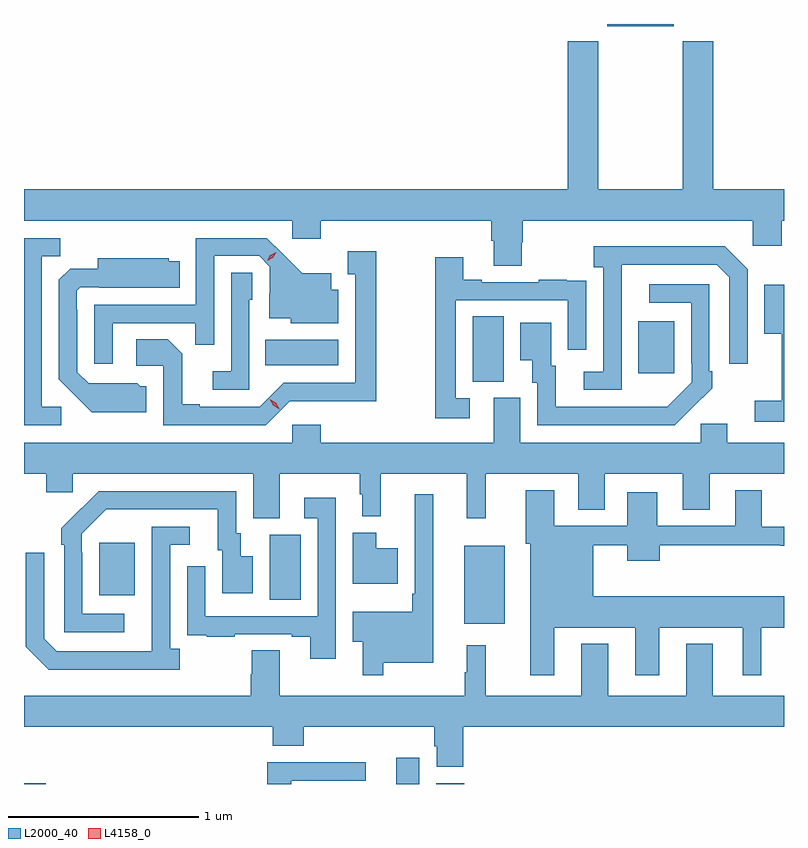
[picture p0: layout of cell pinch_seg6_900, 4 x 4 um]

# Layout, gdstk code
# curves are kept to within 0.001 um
import gdstk
lib = gdstk.Library(unit=1e-6, precision=1e-09)
def R(c, l, rs):  # rectangles x0, y0, x1, y1
    for r in rs: c.add(gdstk.rectangle(r[:2], r[2:], *l))
def P(c, l, *ps):  # polygons
    for p in ps: c.add(gdstk.Polygon(p, *l))
L2000_40 = (2000, 40)
L4158_0 = (4158, 0)

pinch_seg6_900 = lib.new_cell('pinch_seg6_900')
R(pinch_seg6_900, L2000_40, [(334.343,937.711,334.457,937.716), (336.302,937.711,336.424,937.849), (336.512,937.711,336.659,937.716), (336.659,938.555,336.874,938.965), (335.636,938.68,335.8,939.024), (334.739,938.705,334.927,938.98), (336.704,939.829,336.868,940.172), (337.577,939.873,337.765,940.147), (335.614,939.914,335.998,940.048), (337.412,941.699,337.762,941.711)])
P(pinch_seg6_900, L2000_40, [(336.963,940.563),(336.968,940.563),(336.968,940.676),(338.178,940.676),(338.178,940.545),(338.33,940.545),(338.33,940.676),(338.343,940.676),(338.343,940.84),(337.97,940.84),(337.97,941.62),(337.81,941.62),(337.81,940.84),(337.365,940.84),(337.365,941.62),(337.205,941.62),(337.205,940.84),(334.343,940.84),(334.343,940.676),(335.754,940.676),(335.754,940.581),(335.906,940.581),(335.906,940.676),(336.803,940.676),(336.803,940.57),(336.815,940.57),(336.815,940.438),(336.963,940.438)],
  [(334.54,939.696),(334.437,939.696),(334.437,940.489),(334.533,940.489),(334.533,940.584),(334.343,940.584),(334.343,939.6),(334.54,939.6)],
  [(334.809,940.137),(335.245,940.137),(335.245,940.024),(335.343,940.024),(335.343,940.491),(335.58,940.491),(335.637,940.434),(335.637,940.292),(335.633,940.292),(335.633,940.163),(335.748,940.163),(335.748,940.136),(335.998,940.136),(335.998,940.312),(335.959,940.312),(335.959,940.399),(335.807,940.399),(335.62,940.584),(335.247,940.584),(335.247,940.233),(334.713,940.233),(334.713,939.924),(334.809,939.924)],
  [(337.488,940.243),(337.489,940.443),(337.989,940.443),(338.055,940.377),(338.055,939.924),(338.151,939.924),(338.151,940.419),(338.03,940.54),(337.341,940.54),(337.341,940.43),(337.392,940.43),(337.392,939.882),(337.29,939.882),(337.29,939.786),(337.488,939.786)],
  [(335.742,939.726),(336.197,939.725),(336.197,940.516),(336.047,940.516),(336.047,940.395),(336.086,940.395),(336.086,939.822),(335.709,939.822),(335.583,939.696),(335.269,939.696),(335.269,939.709),(335.175,939.709),(335.175,939.976),(335.099,940.052),(334.935,940.052),(334.935,939.912),(335.076,939.912),(335.076,939.6),(335.616,939.6)],
  [(336.688,939.741),(336.615,939.741),(336.615,940.257),(337.206,940.257),(337.206,939.996),(337.302,939.996),(337.302,940.25),(337.301,940.25),(337.301,940.359),(337.199,940.359),(337.199,940.366),(337.051,940.366),(337.051,940.353),(336.751,940.353),(336.751,940.366),(336.655,940.366),(336.655,940.483),(336.507,940.483),(336.507,939.636),(336.688,939.636)],
  [(334.987,939.804),(334.956,939.804),(334.94,939.82),(334.683,939.819),(334.623,939.879),(334.623,940.208),(334.62,940.208),(334.62,940.308),(334.638,940.326),(334.738,940.326),(334.738,940.322),(335.162,940.322),(335.162,940.462),(335.106,940.462),(335.106,940.477),(334.73,940.477),(334.73,940.423),(334.586,940.423),(334.527,940.364),(334.527,939.842),(334.699,939.668),(334.987,939.668)],
  [(335.529,940.26),(335.544,940.26),(335.544,940.403),(335.433,940.403),(335.433,939.883),(335.337,939.883),(335.337,939.786),(335.529,939.786)],
  [(337.859,939.691),(337.86,939.69),(337.965,939.795),(337.965,939.883),(337.95,939.883),(337.95,940.341),(337.635,940.341),(337.635,940.245),(337.854,940.245),(337.854,939.925),(337.857,939.925),(337.857,939.825),(337.729,939.697),(337.141,939.696),(337.141,939.912),(337.117,939.912),(337.117,940.138),(336.956,940.138),(336.956,939.941),(337.019,939.941),(337.019,939.822),(337.044,939.822),(337.044,939.6),(337.768,939.6)],
  [(338.343,940.339),(338.24,940.339),(338.24,940.082),(338.33,940.082),(338.33,939.727),(338.19,939.727),(338.19,939.618),(338.343,939.618)],
  [(335.689,939.344),(336.111,939.344),(336.111,939.237),(336.122,939.237),(336.122,939.119),(336.221,939.119),(336.221,939.344),(336.674,939.344),(336.674,939.111),(336.773,939.111),(336.773,939.344),(337.259,939.344),(337.259,939.154),(337.399,939.154),(337.399,939.344),(337.811,939.344),(337.811,939.154),(337.951,939.154),(337.951,939.344),(338.343,939.344),(338.343,939.508),(338.044,939.508),(338.044,939.606),(337.905,939.606),(337.905,939.508),(336.955,939.508),(336.955,939.744),(336.815,939.744),(336.815,939.508),(335.906,939.508),(335.906,939.601),(335.754,939.601),(335.754,939.508),(334.343,939.508),(334.343,939.344),(334.46,939.344),(334.46,939.246),(334.599,939.246),(334.599,939.344),(335.549,939.344),(335.549,939.109),(335.689,939.109)],
  [(337.135,938.534),(337.559,938.534),(337.559,938.283),(337.687,938.283),(337.687,938.534),(338.126,938.534),(338.126,938.283),(338.224,938.283),(338.224,938.534),(338.343,938.534),(338.343,938.698),(337.339,938.698),(337.339,938.968),(337.517,938.968),(337.517,938.885),(337.688,938.885),(337.688,938.968),(338.323,938.968),(338.323,938.966),(338.343,938.966),(338.343,939.066),(338.227,939.066),(338.227,939.256),(338.087,939.256),(338.087,939.069),(337.675,939.069),(337.675,939.247),(337.517,939.247),(337.517,939.069),(337.135,939.069),(337.135,939.256),(336.983,939.256),(336.983,938.976),(337.007,938.976),(337.007,938.283),(337.135,938.283)],
  [(334.87,938.607),(334.65,938.607),(334.65,938.927),(334.647,938.927),(334.647,939.027),(334.776,939.156),(335.363,939.156),(335.363,938.94),(335.387,938.94),(335.387,938.715),(335.548,938.715),(335.548,938.911),(335.485,938.911),(335.485,939.03),(335.46,939.03),(335.46,939.252),(334.736,939.252),(334.539,939.057),(334.539,938.969),(334.554,938.969),(334.554,938.511),(334.87,938.511)],
  [(336.235,938.348),(336.496,938.348),(336.496,939.235),(336.399,939.235),(336.399,938.713),(336.387,938.713),(336.387,938.617),(336.072,938.617),(336.072,938.459),(336.125,938.459),(336.125,938.283),(336.235,938.283)],
  [(335.985,939.217),(335.817,939.217),(335.817,939.111),(335.889,939.111),(335.889,938.595),(335.298,938.595),(335.298,938.857),(335.202,938.857),(335.202,938.602),(335.203,938.602),(335.203,938.493),(335.305,938.493),(335.305,938.487),(335.453,938.487),(335.453,938.499),(335.753,938.499),(335.753,938.487),(335.849,938.487),(335.849,938.37),(335.985,938.37)],
  [(335.164,938.422),(335.112,938.422),(335.112,938.97),(335.215,938.97),(335.215,939.066),(335.016,939.066),(335.015,938.409),(334.515,938.409),(334.449,938.475),(334.449,938.929),(334.353,938.929),(334.353,938.433),(334.474,938.312),(335.164,938.312)],
  [(336.31,938.953),(336.196,938.953),(336.196,939.034),(336.074,939.034),(336.074,938.765),(336.31,938.765)],
  [(336.656,938.012),(338.343,938.012),(338.343,938.176),(337.969,938.176),(337.969,938.449),(337.829,938.449),(337.829,938.176),(337.417,938.176),(337.417,938.449),(337.277,938.449),(337.277,938.176),(336.774,938.176),(336.774,938.44),(336.674,938.44),(336.674,938.3),(336.663,938.3),(336.663,938.176),(335.689,938.176),(335.689,938.414),(335.542,938.414),(335.542,938.289),(335.537,938.289),(335.537,938.176),(334.343,938.176),(334.343,938.012),(335.651,938.012),(335.651,937.913),(335.816,937.913),(335.816,938.012),(336.503,938.012),(336.503,937.911),(336.515,937.911),(336.515,937.801),(336.656,937.801)],
  [(335.749,937.728),(336.142,937.728),(336.142,937.826),(335.624,937.826),(335.624,937.711),(335.749,937.711)])
P(pinch_seg6_900, L4158_0, [(335.686,939.684),(335.654,939.704),(335.637,939.736),(335.637,939.736),(335.637,939.736),(335.669,939.717),(335.686,939.685),(335.686,939.684)],
  [(335.622,940.466),(335.622,940.466),(335.639,940.495),(335.67,940.511),(335.67,940.511),(335.67,940.51),(335.653,940.481),(335.622,940.466)])

lib.write_gds('pinch_seg6_900.gds')
